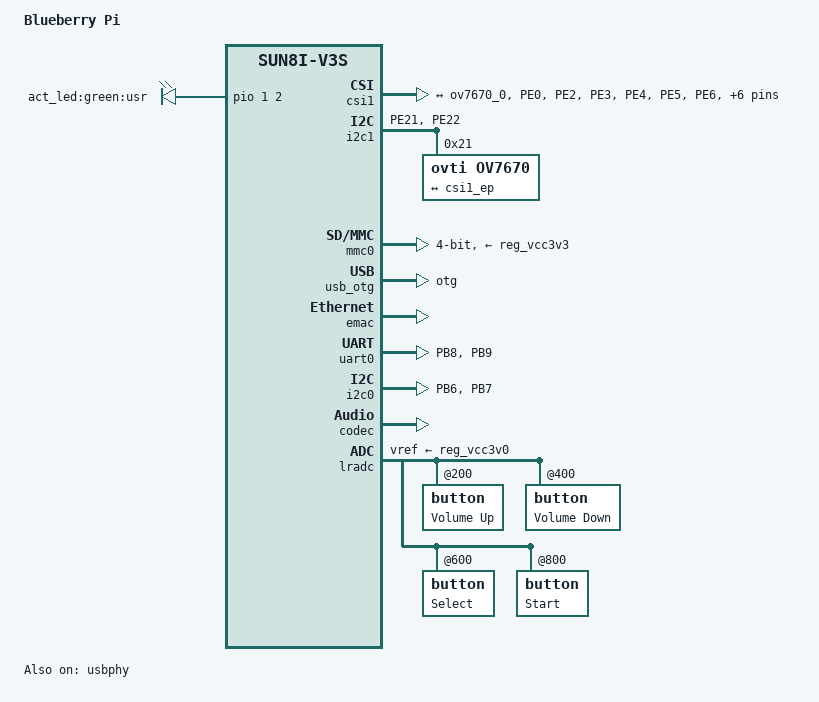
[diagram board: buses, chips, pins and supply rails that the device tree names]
/dts-v1/;
#include "sun8i-v3s.dtsi"
#include "sunxi-common-regulators.dtsi"
#include <dt-bindings/input/input.h>
/ {
	model = "Blueberry Pi";
	compatible = "blueberrypi", "allwinner,sun8i-v3s";

	aliases {
		serial0 = &uart0;
		ethernet0 = &emac;
		
	};

	chosen {
		stdout-path = "serial0:115200n8";
	};

	leds {
	compatible = "gpio-leds";

	act_led {
		label = "act_led:green:usr";
		gpios = <&pio 1 2 GPIO_ACTIVE_HIGH>; /* PB2 */
		linux,default-trigger = "mmc0";
		default-state = "off";
	};
	};
};



&csi1 {
    	status = "okay";
    	pinctrl-names = "default";
    	pinctrl-0 = <&csi1_pins &csi1_mclk>;
    	
			


    port {
	/* Parallel bus endpoint */
	csi1_ep: endpoint {
		
		remote-endpoint = <&ov7670_0>;
		hsync-active = <1>;
		vsync-active = <0>;
		pclk-sample = <1>;
		
		
	};
};
 };

&i2c1 {
    	pinctrl-0 = <&i2c1_pins>;
	pinctrl-names = "default";
	status = "okay";

	
	ov7670: camera@30 {
        	compatible = "ovti,ov7670";
		reg = <0x21>;
		clocks = <&ccu CLK_CSI1_MCLK>;
		clock-names = "xclk";
		assigned-clock-rates = <24000000>;
		assigned-clocks = <&ccu CLK_CSI1_MCLK>;
        
             
        port {
            	ov7670_0: endpoint {
			
					remote-endpoint = <&csi1_ep>;
			};     
             
        };
    };
};



&mmc0 {
	pinctrl-0 = <&mmc0_pins>;
	pinctrl-names = "default";
	broken-cd;
	bus-width = <4>;
	vmmc-supply = <&reg_vcc3v3>;
	status = "okay";
};


&usb_otg {
	dr_mode = "otg";
	status = "okay";
};

&usbphy {
	usb0_id_det-gpio = <&pio 5 6 GPIO_ACTIVE_HIGH>;
	status = "okay";
};

&emac {
	allwinner,leds-active-high;
	status = "okay";
};

&uart0 {
	pinctrl-0 = <&uart0_pins>;
	pinctrl-names = "default";
	status = "okay";
};

&i2c0 {
	pinctrl-0 = <&i2c0_pins>;
	pinctrl-names = "default";
	status = "okay";
};

&codec {
	allwinner,audio-routing = "Headphone", "HP", "Headphone", "HPCOM", "Mic", "MIC1";
	status = "okay";
};

&lradc {
	vref-supply = <&reg_vcc3v0>;
	status = "okay";

	button@200 {
		label = "Volume Up";
		linux,code = <KEY_VOLUMEUP>;
		channel = <0>;
		voltage = <200000>;
	};

	button@400 {
		label = "Volume Down";
		linux,code = <KEY_VOLUMEDOWN>;
		channel = <0>;
		voltage = <400000>;
	};

	button@600 {
		label = "Select";
		linux,code = <KEY_SELECT>;
		channel = <0>;
		voltage = <600000>;
	};

	button@800 {
		label = "Start";
		linux,code = <KEY_OK>;
		channel = <0>;
		voltage = <800000>;
	};
};

&pio {
	csi1_pins: csi1-pins@0 {
	        pins 	 = "PE0","PE2","PE3","PE4","PE5","PE6","PE7","PE8","PE9","PE10","PE11";
	        function = "csi";
    	};

	csi1_mclk: csi1-mclk@0 {
	        pins = "PE1";
	        function = "csi";
    	};

	i2c0_pins: i2c0 {
		pins = "PB6", "PB7";
		function = "i2c0";
	};

	i2c1_pins: i2c1 {
		pins = "PE21", "PE22";
		function = "i2c1";
	};
	

	uart0_pins: uart0@0 {
	 	pins = "PB8", "PB9";
		function = "uart0";
	};

};

